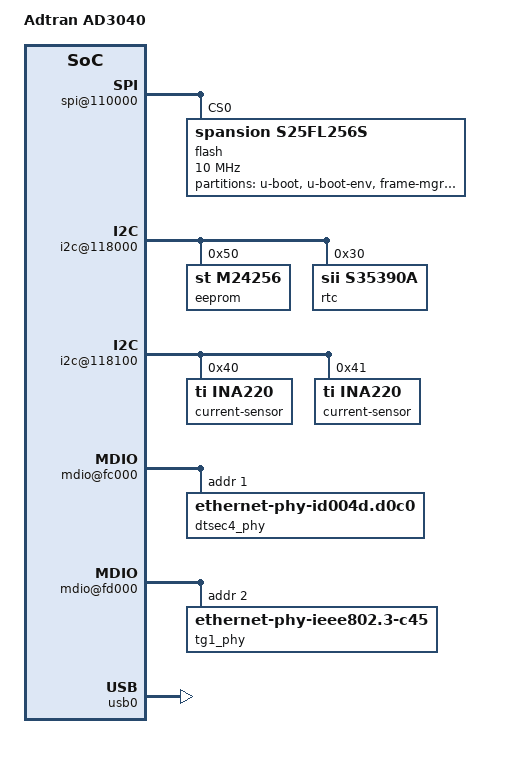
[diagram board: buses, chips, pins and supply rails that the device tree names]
/*
 * Adtran AD3040 (fsl,T1023) Device Tree Source
 *
 * Based on the Freescale T1023RDB (t1023rdb.dts) from the mainline/OpenWrt
 * 6.18 kernel, adapted for the Adtran AD3040 board using the device set
 * observed in the vendor (3.12) boot log.
 *
 * Board devices (from vendor boot log):
 *   - 2x FMAN Ethernet MACs: TGEC1 (ethernet@e0000, XGMII, c45 PHY @ xmdio/2)
 *     and DTSEC4 (ethernet@e6000, RGMII, PHY @ mdio/1).  The other two MACs
 *     (TGEC2 @e2000, TGEC3 @e4000) are not populated and are disabled.
 *   - 1x USB 2.0 EHCI host (usb@210000).  The DR controller (usb@211000) has
 *     no valid PHY clock and fails to probe, so it is disabled.
 *   - 3x PCIe root complexes, each with a wireless radio:
 *       pcie@ffe240000 : 168c:0046 (QCA9984)
 *       pcie@ffe250000 : 168c:0046 (QCA9984)
 *       pcie@ffe260000 : 168c:0050 (AR9887)
 *   - SPI NOR flash: s25fl256s (32 MiB)
 *   - I2C0: s35390a RTC @0x30 (and an at24 eeprom @0x50)
 *   - I2C1: 2x ina220 power monitors @0x40/0x41
 *   - SD/eMMC (sdhc@114000) - root filesystem
 *   - 4x DUART serial ports
 *   - SEC/CAAM crypto, QMAN/BMAN/FMAN DPAA
 *   - No SATA device, no NAND device (both disabled)
 *
 * Copyright 2014 Freescale Semiconductor Inc.
 *
 * Redistribution and use in source and binary forms, with or without
 * modification, are permitted provided that the following conditions are met:
 *     * Redistributions of source code must retain the above copyright
 *	 notice, this list of conditions and the following disclaimer.
 *     * Redistributions in binary form must reproduce the above copyright
 *	 notice, this list of conditions and the following disclaimer in the
 *	 documentation and/or other materials provided with the distribution.
 *     * Neither the name of Freescale Semiconductor nor the
 *	 names of its contributors may be used to endorse or promote products
 *	 derived from this software without specific prior written permission.
 *
 *
 * ALTERNATIVELY, this software may be distributed under the terms of the
 * GNU General Public License ("GPL") as published by the Free Software
 * Foundation, either version 2 of that License or (at your option) any
 * later version.
 *
 * THIS SOFTWARE IS PROVIDED BY Freescale Semiconductor "AS IS" AND ANY
 * EXPRESS OR IMPLIED WARRANTIES, INCLUDING, BUT NOT LIMITED TO, THE IMPLIED
 * WARRANTIES OF MERCHANTABILITY AND FITNESS FOR A PARTICULAR PURPOSE ARE
 * DISCLAIMED. IN NO EVENT SHALL Freescale Semiconductor BE LIABLE FOR ANY
 * DIRECT, INDIRECT, INCIDENTAL, SPECIAL, EXEMPLARY, OR CONSEQUENTIAL DAMAGES
 * (INCLUDING, BUT NOT LIMITED TO, PROCUREMENT OF SUBSTITUTE GOODS OR SERVICES;
 * LOSS OF USE, DATA, OR PROFITS; OR BUSINESS INTERRUPTION) HOWEVER CAUSED AND
 * ON ANY THEORY OF LIABILITY, WHETHER IN CONTRACT, STRICT LIABILITY, OR TORT
 * (INCLUDING NEGLIGENCE OR OTHERWISE) ARISING IN ANY WAY OUT OF THE USE OF THIS
 * SOFTWARE, EVEN IF ADVISED OF THE POSSIBILITY OF SUCH DAMAGE.
 */

/include/ "t102xsi-pre.dtsi"

/ {
	model = "Adtran AD3040";
	compatible = "adtran,ad3040", "fsl,T1023RDB";
	#address-cells = <2>;
	#size-cells = <2>;
	interrupt-parent = <&mpic>;

	reserved-memory {
		#address-cells = <2>;
		#size-cells = <2>;
		ranges;

		bman_fbpr: bman-fbpr {
			size = <0 0x1000000>;
			alignment = <0 0x1000000>;
		};

		qman_fqd: qman-fqd {
			size = <0 0x400000>;
			alignment = <0 0x400000>;
		};

		qman_pfdr: qman-pfdr {
			size = <0 0x2000000>;
			alignment = <0 0x2000000>;
		};
	};

	ifc: localbus@ffe124000 {
		reg = <0xf 0xfe124000 0 0x2000>;
		ranges = <0 0 0xf 0xe8000000 0x08000000
			  1 0 0xf 0xff800000 0x00010000>;

		nor@0,0 {
			#address-cells = <1>;
			#size-cells = <1>;
			status = "disabled";
			compatible = "cfi-flash";
			reg = <0x0 0x0 0x8000000>;
			bank-width = <2>;
			device-width = <1>;
		};

		nand@1,0 {
			#address-cells = <1>;
			#size-cells = <1>;
			compatible = "fsl,ifc-nand";
			reg = <0x1 0x0 0x10000>;
			status = "disabled";
		};
	};

	memory {
		device_type = "memory";
	};

	dcsr: dcsr@f00000000 {
		ranges = <0x00000000 0xf 0x00000000 0x01072000>;
	};

	bportals: bman-portals@ff4000000 {
		ranges = <0x0 0xf 0xf4000000 0x2000000>;
	};

	qportals: qman-portals@ff6000000 {
		ranges = <0x0 0xf 0xf6000000 0x2000000>;
	};

	soc: soc@ffe000000 {
		ranges = <0x00000000 0xf 0xfe000000 0x1000000>;
		reg = <0xf 0xfe000000 0 0x00001000>;

		spi@110000 {
			flash@0 {
				#address-cells = <1>;
				#size-cells = <1>;
				compatible = "spansion,s25fl256s", "jedec,spi-nor";
				reg = <0>;
				spi-max-frequency = <10000000>; /* input clk */

				partitions {
					compatible = "fixed-partitions";
					#address-cells = <1>;
					#size-cells = <1>;

					partition@0 {
						label = "u-boot";
						reg = <0x00000000 0x00100000>;
					};
					partition@1 {
						label = "u-boot-env";
						reg = <0x00100000 0x00010000>;
					};
					partition@2 {
						label = "frame-mgr";
						reg = <0x00110000 0x00030000>;
					};
					partition@3 {
						label = "kernel-a";
						reg = <0x00140000 0x00c00000>;
					};
					partition@4 {
						label = "kernel-b";
						reg = <0x00d40000 0x00c00000>;
					};
					partition@5 {
						label = "dtb-a";
						reg = <0x01940000 0x00010000>;
					};
					partition@6 {
						label = "dtb-b";
						reg = <0x01950000 0x00010000>;
					};
					partition@7 {
						label = "kdump";
						reg = <0x01960000 0x005a0000>;
					};
					partition@8 {
						label = "cert";
						reg = <0x01f00000 0x00080000>;
					};
					partition@9 {
						label = "senao";
						reg = <0x01f80000 0x00040000>;
					};
					partition@10 {
						label = "art";
						reg = <0x01fc0000 0x00040000>;
					};
				};
			};
		};

		i2c@118000 {
			eeprom@50 {
				compatible = "st,m24256";
				reg = <0x50>;
			};

			rtc@30 {
				compatible = "sii,s35390a";
				reg = <0x30>;
			};
		};

		i2c@118100 {
			current-sensor@40 {
				compatible = "ti,ina220";
				reg = <0x40>;
				shunt-resistor = <1000>;
			};

			current-sensor@41 {
				compatible = "ti,ina220";
				reg = <0x41>;
				shunt-resistor = <1000>;
			};
		};

		fman@400000 {
			/* TGEC1 (10G) - eth0 */
			ethernet@e0000 {
				phy-handle = <&tg1_phy>;
				phy-connection-type = "2500base-x";
				//phy-connection-type = "xgmii";
				sleep = <&rcpm 0x80000000>;
			};

			/* TGEC2 (10G) - not populated */
			ethernet@e2000 {
				status = "disabled";
			};

			/* TGEC3 (10G) - not populated */
			ethernet@e4000 {
				status = "disabled";
			};

			/* DTSEC4 (1G) - eth1 */
			ethernet@e6000 {
				phy-handle = <&dtsec4_phy>;
				phy-connection-type = "rgmii-rxid";
				sleep = <&rcpm 0x10000000>;
			};

			mdio@fc000 {
				dtsec4_phy: ethernet-phy@1 {
					// compatible = "ethernet-phy-ieee802.3-c22";
					compatible = "ethernet-phy-id004d.d0c0";
					reg = <0x1>;
				};
			};
			mdio@fd000 {
				tg1_phy: ethernet-phy@2 {
					compatible = "ethernet-phy-ieee802.3-c45";
					//compatible = "ethernet-phy-id03a1.b662";
					reg = <0x2>;
				};
			};
		};

		usb0: usb@210000 {
			status = "okay";
		};
		usb1: usb@211000 {
			status = "disabled";
		};
		/* USB DR controller: no valid PHY clock, probe fails */

		/* No SATA device attached */
		sata@220000 {
			status = "disabled";
		};
	};

	pci0: pcie@ffe240000 {
		reg = <0xf 0xfe240000 0 0x10000>;
		ranges = <0x02000000 0 0xe0000000 0xc 0x00000000 0 0x10000000
			  0x01000000 0 0x00000000 0xf 0xf8000000 0 0x00010000>;
		pcie@0 {
			ranges = <0x02000000 0 0xe0000000
				  0x02000000 0 0xe0000000
				  0 0x10000000

				  0x01000000 0 0x00000000
				  0x01000000 0 0x00000000
				  0 0x00010000>;
		};
	};

	pci1: pcie@ffe250000 {
		reg = <0xf 0xfe250000 0 0x10000>;
		ranges = <0x02000000 0 0xe0000000 0xc 0x10000000 0 0x10000000
			  0x01000000 0 0x00000000 0xf 0xf8010000 0 0x00010000>;
		pcie@0 {
			ranges = <0x02000000 0 0xe0000000
				  0x02000000 0 0xe0000000
				  0 0x10000000

				  0x01000000 0 0x00000000
				  0x01000000 0 0x00000000
				  0 0x00010000>;
		};
	};

	pci2: pcie@ffe260000 {
		reg = <0xf 0xfe260000 0 0x10000>;
		ranges = <0x02000000 0 0xe0000000 0xc 0x20000000 0 0x10000000
			  0x01000000 0 0x00000000 0xf 0xf8020000 0 0x00010000>;
		pcie@0 {
			ranges = <0x02000000 0 0xe0000000
				  0x02000000 0 0xe0000000
				  0 0x10000000

				  0x01000000 0 0x00000000
				  0x01000000 0 0x00000000
				  0 0x00010000>;
		};
	};
};

#include "t1023si-post.dtsi"
